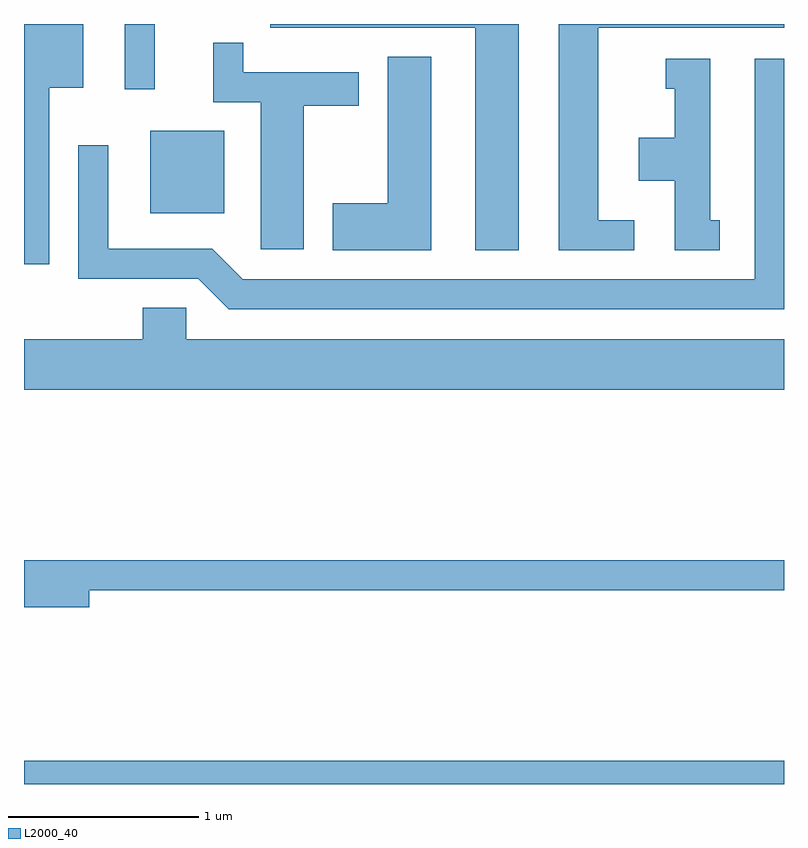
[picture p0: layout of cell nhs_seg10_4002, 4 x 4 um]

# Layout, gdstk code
import gdstk
lib = gdstk.Library(unit=1e-6, precision=1e-09)
def R(c, l, rs):  # rectangles x0, y0, x1, y1
    for r in rs: c.add(gdstk.rectangle(r[:2], r[2:], *l))
def P(c, l, *ps):  # polygons
    for p in ps: c.add(gdstk.Polygon(p, *l))
L2000_40 = (2000, 40)

nhs_seg10_4002 = lib.new_cell('nhs_seg10_4002')
R(nhs_seg10_4002, L2000_40, [(303.611,2098.522,307.611,2098.644), (304.276,2101.526,304.664,2101.959), (304.141,2102.178,304.299,2102.522)])
P(nhs_seg10_4002, L2000_40, [(306.823,2101.489),(306.634,2101.489),(306.634,2102.501),(307.611,2102.501),(307.611,2102.522),(306.426,2102.522),(306.426,2101.331),(306.823,2101.331)],
  [(303.744,2102.186),(303.924,2102.186),(303.924,2102.522),(303.611,2102.522),(303.611,2101.258),(303.744,2101.258)],
  [(306.214,2102.522),(304.908,2102.522),(304.908,2102.501),(305.986,2102.501),(305.986,2101.331),(306.214,2101.331)],
  [(305.084,2102.091),(305.374,2102.091),(305.374,2102.269),(304.764,2102.269),(304.764,2102.423),(304.606,2102.423),(304.606,2102.111),(304.856,2102.111),(304.856,2101.336),(305.084,2101.336)],
  [(305.754,2102.349),(305.526,2102.349),(305.526,2101.579),(305.236,2101.579),(305.236,2101.331),(305.754,2101.331)],
  [(307.273,2101.489),(307.224,2101.489),(307.224,2102.339),(306.988,2102.339),(306.988,2102.181),(307.036,2102.181),(307.036,2101.924),(306.846,2101.924),(306.846,2101.696),(307.036,2101.696),(307.036,2101.331),(307.273,2101.331)],
  [(307.611,2102.339),(307.456,2102.339),(307.456,2101.179),(304.762,2101.179),(304.602,2101.339),(304.054,2101.339),(304.054,2101.883),(303.896,2101.883),(303.896,2101.181),(304.529,2101.181),(304.689,2101.021),(307.611,2101.021)],
  [(307.611,2100.864),(304.464,2100.864),(304.464,2101.029),(304.236,2101.029),(304.236,2100.864),(303.611,2100.864),(303.611,2100.596),(307.611,2100.596)],
  [(303.954,2099.541),(307.611,2099.541),(307.611,2099.699),(303.611,2099.699),(303.611,2099.451),(303.954,2099.451)])

lib.write_gds('nhs_seg10_4002.gds')
